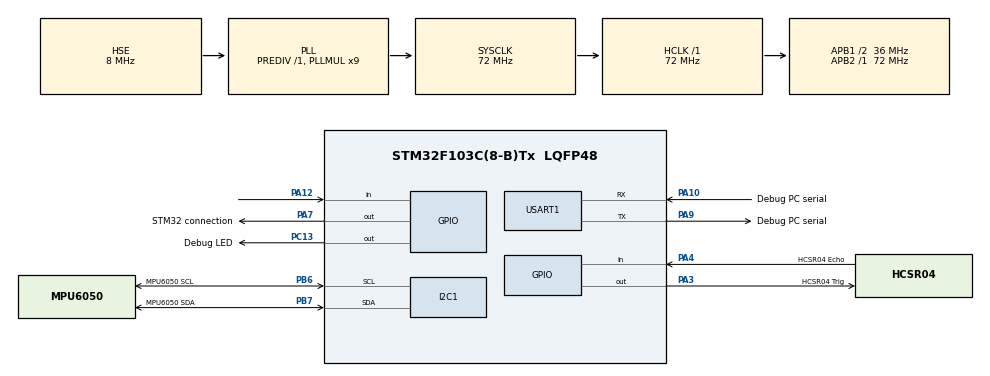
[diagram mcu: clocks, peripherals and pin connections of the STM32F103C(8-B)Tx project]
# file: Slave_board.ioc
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I2C1.I2C_Mode=I2C_Fast
Mcu.Family=STM32F1
Mcu.Name=STM32F103C(8-B)Tx
Mcu.Package=LQFP48
NVIC.PriorityGroup=NVIC_PRIORITYGROUP_4
NVIC.TIM3_IRQn=true\:0\:0\:false\:false\:true\:true\:true\:true
NVIC.USART1_IRQn=true\:0\:0\:false\:false\:true\:true\:true\:true
PA10.GPIO_Label=Debug PC serial
PA10.Mode=Asynchronous
PA10.Signal=USART1_RX
PA12.GPIO_PuPd=GPIO_PULLDOWN
PA12.Signal=GPIO_Input
PA13.Mode=Serial_Wire
PA13.Signal=SYS_JTMS-SWDIO
PA14.Mode=Serial_Wire
PA14.Signal=SYS_JTCK-SWCLK
PA3.GPIO_Label=HCSR04 Trig
PA3.Signal=GPIO_Output
PA4.GPIO_Label=HCSR04 Echo
PA4.Signal=GPIO_Input
PA7.GPIO_Label=STM32 connection
PA7.GPIO_Speed=GPIO_SPEED_FREQ_HIGH
PA7.Signal=GPIO_Output
PA9.GPIO_Label=Debug PC serial
PA9.Mode=Asynchronous
PA9.Signal=USART1_TX
PB6.GPIO_Label=MPU6050 SCL
PB6.Mode=I2C
PB6.Signal=I2C1_SCL
PB7.GPIO_Label=MPU6050 SDA
PB7.Mode=I2C
PB7.Signal=I2C1_SDA
PC13-TAMPER-RTC.GPIO_Label=Debug LED
PC13-TAMPER-RTC.GPIO_Speed=GPIO_SPEED_FREQ_HIGH
PC13-TAMPER-RTC.Signal=GPIO_Output
PC14-OSC32_IN.Mode=LSE-External-Oscillator
PC14-OSC32_IN.Signal=RCC_OSC32_IN
PC15-OSC32_OUT.Mode=LSE-External-Oscillator
PC15-OSC32_OUT.Signal=RCC_OSC32_OUT
PD0-OSC_IN.Mode=HSE-External-Oscillator
PD0-OSC_IN.Signal=RCC_OSC_IN
PD1-OSC_OUT.Mode=HSE-External-Oscillator
PD1-OSC_OUT.Signal=RCC_OSC_OUT
ProjectManager.HeapSize=0x200
ProjectManager.StackSize=0x400
ProjectManager.TargetToolchain=STM32CubeIDE
RCC.AHBFreq_Value=72000000
RCC.APB1CLKDivider=RCC_HCLK_DIV2
RCC.APB1Freq_Value=36000000
RCC.APB1TimFreq_Value=72000000
RCC.APB2Freq_Value=72000000
RCC.APB2TimFreq_Value=72000000
RCC.HCLKFreq_Value=72000000
RCC.PLLMUL=RCC_PLL_MUL9
RCC.PLLSourceVirtual=RCC_PLLSOURCE_HSE
RCC.SYSCLKFreq_VALUE=72000000
RCC.SYSCLKSource=RCC_SYSCLKSOURCE_PLLCLK
RCC.USBFreq_Value=72000000
TIM1.Prescaler=71
TIM3.Period=10000
TIM3.Prescaler=7200-1
USART1.VirtualMode=VM_ASYNC
VP_TIM1_VS_ClockSourceINT.Mode=Internal
VP_TIM3_VS_ClockSourceINT.Mode=Internal
board=custom

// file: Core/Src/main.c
/* USER CODE BEGIN Header */
/**
  ******************************************************************************
  * @file           : main.c
  * @brief          : Main program body
  ******************************************************************************
  * @attention
  *
  * Copyright (c) 2024 STMicroelectronics.
  * All rights reserved.
  *
  * This software is licensed under terms that can be found in the LICENSE file
  * in the root directory of this software component.
  * If no LICENSE file comes with this software, it is provided AS-IS.
  *
  ******************************************************************************
  */
/* USER CODE END Header */
#include "main.h"

/* USER CODE BEGIN PD */
#define MPU6050_ADDR 0xD0

#define SMPLRT_DIV_REG 0x19
#define GYRO_CONFIG_REG 0x1B
#define ACCEL_CONFIG_REG 0x1C
#define ACCEL_XOUT_H_REG 0x3B
#define TEMP_OUT_H_REG 0x41
#define GYRO_XOUT_H_REG 0x43
#define PWR_MGMT_1_REG 0x6B
#define WHO_AM_I_REG 0x75
#define MPU6050_INT_PIN_CFG 0x37
#define MPU6050_INT_ENABLE 0x38

#define TRIG_PIN GPIO_PIN_3
#define TRIG_PORT GPIOA
#define ECHO_PIN GPIO_PIN_4
#define ECHO_PORT GPIOA
/* USER CODE END PD */

 I2C_HandleTypeDef hi2c1;

TIM_HandleTypeDef htim1;
TIM_HandleTypeDef htim3;

UART_HandleTypeDef huart1;

/* USER CODE BEGIN PV */
int16_t Accel_X_RAW, Accel_Y_RAW, Accel_Z_RAW;
int16_t Gyro_X_RAW, Gyro_Y_RAW, Gyro_Z_RAW;
double Ax, Ay, Az;
double Gx, Gy, Gz;

uint8_t Rec_Data_Acc[6],Rec_Data_Gyro[6];
uint8_t accu_second = 0;
uint8_t pause_second = 0;

uint32_t Val1 = 0;
uint32_t Val2 = 0;
uint16_t Distance = 0;
uint32_t pMillis;

uint8_t count = 1;
/* USER CODE END PV */

void SystemClock_Config(void);
static void MX_GPIO_Init(void);
static void MX_I2C1_Init(void);
static void MX_USART1_UART_Init(void);
static void MX_TIM1_Init(void);
static void MX_TIM3_Init(void);

int main(void)
{

  /* MCU Configuration--------------------------------------------------------*/

  /* Reset of all peripherals, Initializes the Flash interface and the Systick. */
  HAL_Init();

  /* Configure the system clock */
  SystemClock_Config();

  /* Initialize all configured peripherals */
  MX_GPIO_Init();
  MX_I2C1_Init();
  MX_USART1_UART_Init();
  MX_TIM1_Init();
  MX_TIM3_Init();
  /* USER CODE BEGIN 2 */
  MPU6050_init();

  HAL_TIM_Base_Start(&htim1);
  HAL_TIM_Base_Start_IT(&htim3);
  HAL_GPIO_WritePin(TRIG_PORT, TRIG_PIN, GPIO_PIN_RESET);  // pull the TRIG pin low

  /* USER CODE END 2 */

  /* Infinite loop */
  /* USER CODE BEGIN WHILE */
  while (1)
  {
	  if(count){
	  HAL_GPIO_WritePin(TRIG_PORT, TRIG_PIN, GPIO_PIN_SET);  // pull the TRIG pin HIGH
	  __HAL_TIM_SET_COUNTER(&htim1, 0);
	  while (__HAL_TIM_GET_COUNTER (&htim1) < 10);  // wait for 10 us
	  HAL_GPIO_WritePin(TRIG_PORT, TRIG_PIN, GPIO_PIN_RESET);  // pull the TRIG pin low

	  pMillis = HAL_GetTick(); // used this to avoid infinite while loop  (for timeout)
	  	 			 			      // wait for the echo pin to go high
	  while (!(HAL_GPIO_ReadPin (ECHO_PORT, ECHO_PIN)) && pMillis + 10 >  HAL_GetTick());
	  Val1 = __HAL_TIM_GET_COUNTER (&htim1);

	  pMillis = HAL_GetTick(); // used this to avoid infinite while loop (for timeout)
	  		 			 			      // wait for the echo pin to go low
	  while ((HAL_GPIO_ReadPin (ECHO_PORT, ECHO_PIN)) && pMillis + 50 > HAL_GetTick());
	  Val2 = __HAL_TIM_GET_COUNTER (&htim1);

	  Distance = (Val2-Val1)* 0.034/2;

//	  if(HAL_GPIO_ReadPin(GPIOA, GPIO_PIN_12) == 1){

		  if(HAL_I2C_Mem_Read (&hi2c1, MPU6050_ADDR, ACCEL_XOUT_H_REG, 1, Rec_Data_Acc, 6, 100) == HAL_OK){
			  HAL_GPIO_WritePin(GPIOC, GPIO_PIN_13, SET);

		  	 	 //Adding 2 BYTES into 16 bit integer
		  		Accel_X_RAW = (Rec_Data_Acc[0] << 8) | Rec_Data_Acc[1];
		  		Accel_Y_RAW = Rec_Data_Acc[2] << 8 | Rec_Data_Acc [3];
		  		Accel_Z_RAW = Rec_Data_Acc[4] << 8 | Rec_Data_Acc [5];

		  		Ax = Accel_X_RAW/16384.0;
		  		Ay = Accel_Y_RAW/16384.0;
		  		Az = Accel_Z_RAW/16384.0;
		  		}

		  if(HAL_I2C_Mem_Read (&hi2c1, MPU6050_ADDR, GYRO_XOUT_H_REG, 1, Rec_Data_Gyro, 6, 100)== HAL_OK){

		  		Gyro_X_RAW = (Rec_Data_Gyro[0] << 8) | Rec_Data_Gyro[1];
		  		Gyro_Y_RAW = Rec_Data_Gyro[2] << 8 | Rec_Data_Gyro [3];
		  		Gyro_Z_RAW = Rec_Data_Gyro[4] << 8 | Rec_Data_Gyro [5];

		  		Gx = Gyro_X_RAW/16384.0;
		  		Gy = Gyro_Y_RAW/16384.0;
		  		Gz = Gyro_Z_RAW/16384.0;
		  }

//	  } else HAL_GPIO_WritePin(GPIOC, GPIO_PIN_13, RESET);
	  if(Distance < 10){ // The pet get around to the bowl
	  	  if ((Gx > 0.04 || Gy > 0.04 || Gz > 0.4) && pause_second < 30) {
	  	  		accu_second += 1; // if the bowl is rotating, count the second
	  	  		HAL_GPIO_WritePin(GPIOA, GPIO_PIN_7, SET);

	  	  } else  pause_second += 1;
	  } else {
		  pause_second += 1;
		  if(pause_second > 30) {  // if it stop for long time, reset the state
		 	 accu_second = 0;
		 	 pause_second = 0;
		 	 HAL_GPIO_WritePin(GPIOA, GPIO_PIN_7, RESET);
		  }
	  }
	  count = 0;
	 }

    /* USER CODE END WHILE */

    /* USER CODE BEGIN 3 */

  //
  }
  /* USER CODE END 3 */
}

void SystemClock_Config(void)
{
  RCC_OscInitTypeDef RCC_OscInitStruct = {0};
  RCC_ClkInitTypeDef RCC_ClkInitStruct = {0};

  /** Initializes the RCC Oscillators according to the specified parameters
  * in the RCC_OscInitTypeDef structure.
  */
  RCC_OscInitStruct.OscillatorType = RCC_OSCILLATORTYPE_HSE;
  RCC_OscInitStruct.HSEState = RCC_HSE_ON;
  RCC_OscInitStruct.HSEPredivValue = RCC_HSE_PREDIV_DIV1;
  RCC_OscInitStruct.HSIState = RCC_HSI_ON;
  RCC_OscInitStruct.PLL.PLLState = RCC_PLL_ON;
  RCC_OscInitStruct.PLL.PLLSource = RCC_PLLSOURCE_HSE;
  RCC_OscInitStruct.PLL.PLLMUL = RCC_PLL_MUL9;
  if (HAL_RCC_OscConfig(&RCC_OscInitStruct) != HAL_OK)
  {
    Error_Handler();
  }

  /** Initializes the CPU, AHB and APB buses clocks
  */
  RCC_ClkInitStruct.ClockType = RCC_CLOCKTYPE_HCLK|RCC_CLOCKTYPE_SYSCLK
                              |RCC_CLOCKTYPE_PCLK1|RCC_CLOCKTYPE_PCLK2;
  RCC_ClkInitStruct.SYSCLKSource = RCC_SYSCLKSOURCE_PLLCLK;
  RCC_ClkInitStruct.AHBCLKDivider = RCC_SYSCLK_DIV1;
  RCC_ClkInitStruct.APB1CLKDivider = RCC_HCLK_DIV2;
  RCC_ClkInitStruct.APB2CLKDivider = RCC_HCLK_DIV1;

  if (HAL_RCC_ClockConfig(&RCC_ClkInitStruct, FLASH_LATENCY_2) != HAL_OK)
  {
    Error_Handler();
  }
}

static void MX_I2C1_Init(void)
{

  hi2c1.Instance = I2C1;
  hi2c1.Init.ClockSpeed = 400000;
  hi2c1.Init.DutyCycle = I2C_DUTYCYCLE_2;
  hi2c1.Init.OwnAddress1 = 0;
  hi2c1.Init.AddressingMode = I2C_ADDRESSINGMODE_7BIT;
  hi2c1.Init.DualAddressMode = I2C_DUALADDRESS_DISABLE;
  hi2c1.Init.OwnAddress2 = 0;
  hi2c1.Init.GeneralCallMode = I2C_GENERALCALL_DISABLE;
  hi2c1.Init.NoStretchMode = I2C_NOSTRETCH_DISABLE;
  if (HAL_I2C_Init(&hi2c1) != HAL_OK)
  {
    Error_Handler();
  }

}

static void MX_TIM1_Init(void)
{

  TIM_ClockConfigTypeDef sClockSourceConfig = {0};
  TIM_MasterConfigTypeDef sMasterConfig = {0};

  htim1.Instance = TIM1;
  htim1.Init.Prescaler = 71;
  htim1.Init.CounterMode = TIM_COUNTERMODE_UP;
  htim1.Init.Period = 65535;
  htim1.Init.ClockDivision = TIM_CLOCKDIVISION_DIV1;
  htim1.Init.RepetitionCounter = 0;
  htim1.Init.AutoReloadPreload = TIM_AUTORELOAD_PRELOAD_DISABLE;
  if (HAL_TIM_Base_Init(&htim1) != HAL_OK)
  {
    Error_Handler();
  }
  sClockSourceConfig.ClockSource = TIM_CLOCKSOURCE_INTERNAL;
  if (HAL_TIM_ConfigClockSource(&htim1, &sClockSourceConfig) != HAL_OK)
  {
    Error_Handler();
  }
  sMasterConfig.MasterOutputTrigger = TIM_TRGO_RESET;
  sMasterConfig.MasterSlaveMode = TIM_MASTERSLAVEMODE_DISABLE;
  if (HAL_TIMEx_MasterConfigSynchronization(&htim1, &sMasterConfig) != HAL_OK)
  {
    Error_Handler();
  }

}

static void MX_TIM3_Init(void)
{

  TIM_ClockConfigTypeDef sClockSourceConfig = {0};
  TIM_MasterConfigTypeDef sMasterConfig = {0};

  htim3.Instance = TIM3;
  htim3.Init.Prescaler = 7200-1;
  htim3.Init.CounterMode = TIM_COUNTERMODE_UP;
  htim3.Init.Period = 10000;
  htim3.Init.ClockDivision = TIM_CLOCKDIVISION_DIV1;
  htim3.Init.AutoReloadPreload = TIM_AUTORELOAD_PRELOAD_DISABLE;
  if (HAL_TIM_Base_Init(&htim3) != HAL_OK)
  {
    Error_Handler();
  }
  sClockSourceConfig.ClockSource = TIM_CLOCKSOURCE_INTERNAL;
  if (HAL_TIM_ConfigClockSource(&htim3, &sClockSourceConfig) != HAL_OK)
  {
    Error_Handler();
  }
  sMasterConfig.MasterOutputTrigger = TIM_TRGO_RESET;
  sMasterConfig.MasterSlaveMode = TIM_MASTERSLAVEMODE_DISABLE;
  if (HAL_TIMEx_MasterConfigSynchronization(&htim3, &sMasterConfig) != HAL_OK)
  {
    Error_Handler();
  }

}

static void MX_USART1_UART_Init(void)
{

  huart1.Instance = USART1;
  huart1.Init.BaudRate = 115200;
  huart1.Init.WordLength = UART_WORDLENGTH_8B;
  huart1.Init.StopBits = UART_STOPBITS_1;
  huart1.Init.Parity = UART_PARITY_NONE;
  huart1.Init.Mode = UART_MODE_TX_RX;
  huart1.Init.HwFlowCtl = UART_HWCONTROL_NONE;
  huart1.Init.OverSampling = UART_OVERSAMPLING_16;
  if (HAL_UART_Init(&huart1) != HAL_OK)
  {
    Error_Handler();
  }

}

static void MX_GPIO_Init(void)
{
  GPIO_InitTypeDef GPIO_InitStruct = {0};

  /* GPIO Ports Clock Enable */
  __HAL_RCC_GPIOC_CLK_ENABLE();
  __HAL_RCC_GPIOD_CLK_ENABLE();
  __HAL_RCC_GPIOA_CLK_ENABLE();
  __HAL_RCC_GPIOB_CLK_ENABLE();

  /*Configure GPIO pin Output Level */
  HAL_GPIO_WritePin(Debug_LED_GPIO_Port, Debug_LED_Pin, GPIO_PIN_RESET);

  /*Configure GPIO pin Output Level */
  HAL_GPIO_WritePin(GPIOA, HCSR04_Trig_Pin|STM32_connection_Pin, GPIO_PIN_RESET);

  /*Configure GPIO pin : Debug_LED_Pin */
  GPIO_InitStruct.Pin = Debug_LED_Pin;
  GPIO_InitStruct.Mode = GPIO_MODE_OUTPUT_PP;
  GPIO_InitStruct.Pull = GPIO_NOPULL;
  GPIO_InitStruct.Speed = GPIO_SPEED_FREQ_HIGH;
  HAL_GPIO_Init(Debug_LED_GPIO_Port, &GPIO_InitStruct);

  /*Configure GPIO pin : HCSR04_Trig_Pin */
  GPIO_InitStruct.Pin = HCSR04_Trig_Pin;
  GPIO_InitStruct.Mode = GPIO_MODE_OUTPUT_PP;
  GPIO_InitStruct.Pull = GPIO_NOPULL;
  GPIO_InitStruct.Speed = GPIO_SPEED_FREQ_LOW;
  HAL_GPIO_Init(HCSR04_Trig_GPIO_Port, &GPIO_InitStruct);

  /*Configure GPIO pin : HCSR04_Echo_Pin */
  GPIO_InitStruct.Pin = HCSR04_Echo_Pin;
  GPIO_InitStruct.Mode = GPIO_MODE_INPUT;
  GPIO_InitStruct.Pull = GPIO_NOPULL;
  HAL_GPIO_Init(HCSR04_Echo_GPIO_Port, &GPIO_InitStruct);

  /*Configure GPIO pin : STM32_connection_Pin */
  GPIO_InitStruct.Pin = STM32_connection_Pin;
  GPIO_InitStruct.Mode = GPIO_MODE_OUTPUT_PP;
  GPIO_InitStruct.Pull = GPIO_NOPULL;
  GPIO_InitStruct.Speed = GPIO_SPEED_FREQ_HIGH;
  HAL_GPIO_Init(STM32_connection_GPIO_Port, &GPIO_InitStruct);

  /*Configure GPIO pin : PA12 */
  GPIO_InitStruct.Pin = GPIO_PIN_12;
  GPIO_InitStruct.Mode = GPIO_MODE_INPUT;
  GPIO_InitStruct.Pull = GPIO_PULLDOWN;
  HAL_GPIO_Init(GPIOA, &GPIO_InitStruct);

}

/* USER CODE BEGIN 4 */
void HAL_TIM_PeriodElapsedCallback(TIM_HandleTypeDef *htim)
{

  if(htim->Instance == TIM3)
  {
//    HAL_GPIO_TogglePin(GPIOC, GPIO_PIN_13);
    count = 1;
  }
}
/* USER CODE END 4 */

void Error_Handler(void)
{
  __disable_irq();
  while (1)
  {
  }
}
